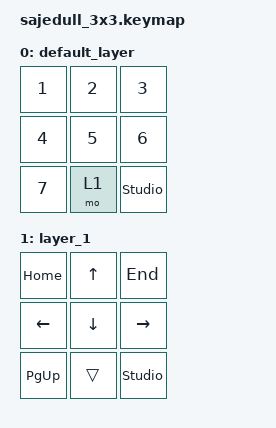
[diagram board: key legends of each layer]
#include <behaviors.dtsi>
#include <dt-bindings/zmk/keys.h>

/ {
    keymap {
        compatible = "zmk,keymap";

        /* Layer 0 */
        default_layer {
            bindings = <
                &kp N1  &kp N2  &kp N3
                &kp N4  &kp N5  &kp N6
                &kp N7  &mo 1  &studio_unlock
            >;
        };

        /* Layer 1 */
        layer_1 {
            bindings = <
                &kp HOME  &kp UP    &kp END
                &kp LEFT  &kp DOWN  &kp RIGHT
                &kp PG_UP &trans    &studio_unlock
            >;
        };
    };
};
